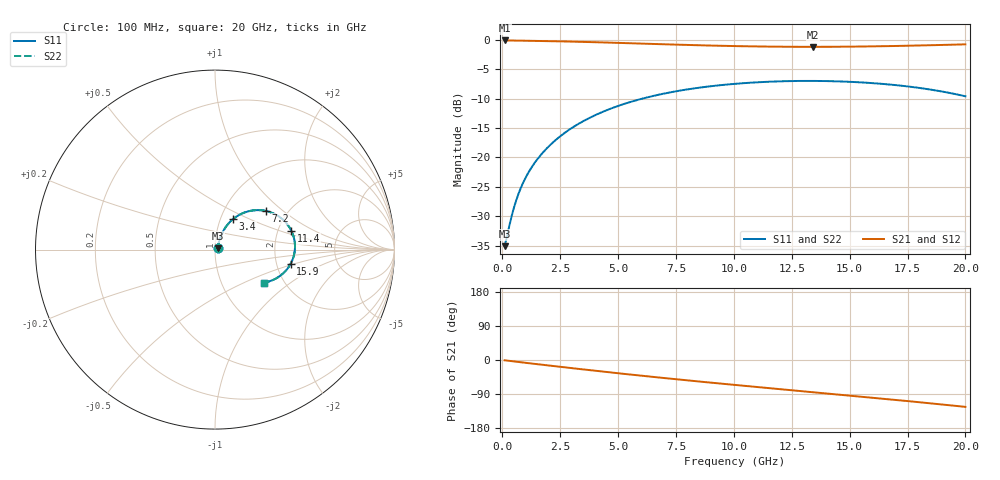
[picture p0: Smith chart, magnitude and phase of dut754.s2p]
! Touchstone file exported from HFSS 2026.1.0
!  File:  C:/ffzhzh/LocalFiles/Ansys_Project_Files/temp_train_TSV_RDL_754_1783206284_51560.aedt
!  Generated:  07:15:48 AM Jul  5, 2026
!  Design:  TSV_RDL
!  Project:  temp_train_TSV_RDL_754_1783206284_51560
! Variables:
!  h_bsmrdl = 2.52um
!  h_ox = 20um
!  h_rdl = 5um
!  h_sub = 79.84um
!  h_tmrdl = 2.82um
!  h_tsv = 79.84um
!  h_via = 3um
!  l_bsmrdl = 204.2um
!  l_sub = 1957.38um
!  l_tmrdl = 210.14um
!  m_sub = 200um
!  pitch = 33.58um
!  r_tsv = 4.46um
!  s_tmrdl = 10um
!  w_bsmrdl = 22.52um
!  w_sub = 500um
!  w_tmrdl = 12.22um
!  x_tsv_center1 = 216.25um
!  x_tsv_center2 = 442.97um
!  x_tsv_center3 = 665.33um
!  x_tsv_center4 = 892.05um
!  x_tsv_center5 = 1114.41um
!  x_tsv_center6 = 1341.13um
# GHz S MA R 50.000000
! Terminal data exported
! Port[1] = TM_RDL1_1_T1
! Port[2] = TM_RDL5_1_T1
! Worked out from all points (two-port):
!   200 points, 100 MHz to 20 GHz, reference 50 ohm
!   highest |S21| = -0.14 dB at 100 MHz (marker M1); lowest = -1.2 dB at 13.4 GHz (marker M2)
!   |S21| within 3 dB of the highest: start of sweep to end of sweep
!   lowest |S11| = -35.0 dB at 100 MHz (marker M3), VSWR 1.04, Z = 51.7 + j0.672 ohm
!   |S11| at or under -10 dB: start of sweep to 6.058 GHz
!   |S22| runs from -35.0 to -7.0 dB; largest |S21 - S12| = 2.2e-14
!   S11 on the Smith chart (normalised r, x): 100 MHz: 1.03, +0.01; 3.4 GHz: 1.15, +0.41; 7.2 GHz: 1.56, +0.77; 11.4 GHz: 2.37, +0.61; 15.9 GHz: 2.39, -0.46; 20 GHz: 1.59, -0.66
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0.1  0.01769 21.6  0.9836 -0.8  0.9836 -0.8  0.01769 21.6
! Gamma 0 0 0 0
! Port Impedance 50 0 50 0
0.4  0.03159 54.4  0.9825 -3.0  0.9825 -3.0  0.03159 54.4
0.6  0.04327 61.3  0.9813 -4.5  0.9813 -4.5  0.04327 61.3
0.9  0.06108 65.3  0.9793 -6.7  0.9793 -6.7  0.06108 65.3
1.2  0.07863 66.5  0.9771 -8.8  0.9771 -8.8  0.07863 66.5
1.6  0.1015 66.5  0.9741 -11.7  0.9741 -11.7  0.1015 66.5
2.1  0.1295 65.2  0.9702 -15.2  0.9702 -15.2  0.1295 65.2
2.7  0.162 62.8  0.9648 -19.4  0.9648 -19.4  0.162 62.8
3.4  0.1984 59.3  0.9576 -24.2  0.9576 -24.2  0.1984 59.3
3.5  0.2035 58.7  0.9565 -24.9  0.9565 -24.9  0.2035 58.7
4.2  0.2376 54.9  0.9484 -29.6  0.9484 -29.6  0.2376 54.9
5  0.2737 50.2  0.9384 -34.9  0.9384 -34.9  0.2737 50.2
6.8  0.3424 39.7  0.9152 -46.4  0.9152 -46.4  0.3424 39.7
7.2  0.3553 37.3  0.9102 -48.9  0.9102 -48.9  0.3553 37.3
8.6  0.3934 29.3  0.8942 -57.4  0.8942 -57.4  0.3934 29.3
10.1  0.4225 20.9  0.8807 -66.1  0.8807 -66.1  0.4225 20.9
11.4  0.4383 13.8  0.8728 -73.5  0.8728 -73.5  0.4383 13.8
13.4  0.4463 2.9  0.8684 -84.8  0.8684 -84.8  0.4463 2.9
15.9  0.4287 -10.6  0.8757 -99.0  0.8757 -99.0  0.4287 -10.7
16.7  0.4165 -15.1  0.8808 -103.7  0.8808 -103.7  0.4165 -15.1
18.4  0.3794 -24.6  0.8952 -113.8  0.8952 -113.8  0.3794 -24.6
20  0.3304 -33.8  0.9116 -123.7  0.9116 -123.7  0.3304 -33.9
